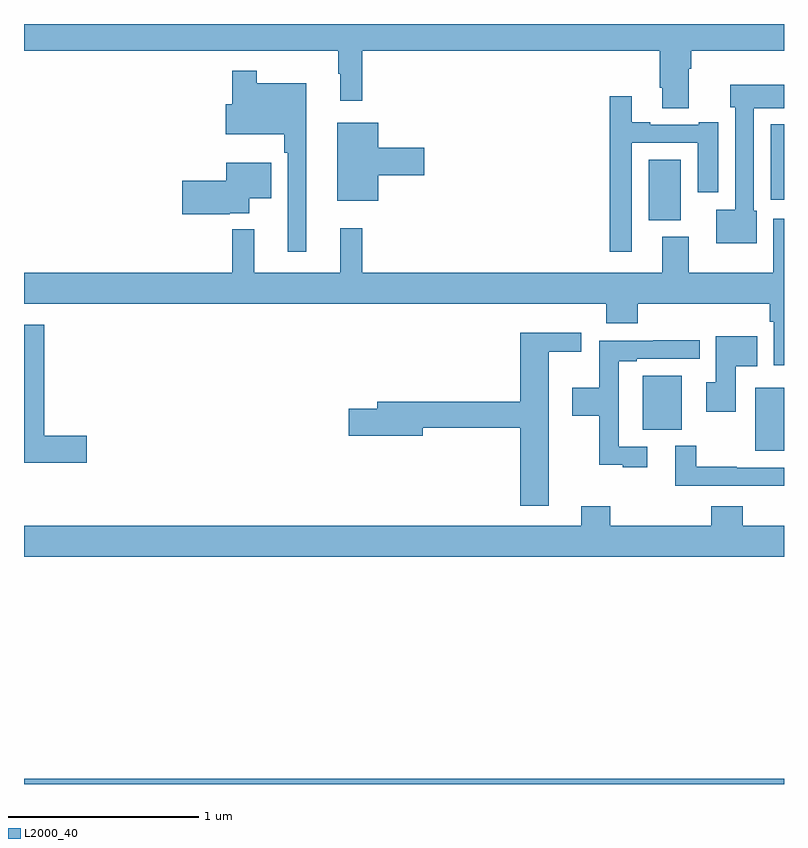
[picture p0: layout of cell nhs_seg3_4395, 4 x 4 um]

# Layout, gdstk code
import gdstk
lib = gdstk.Library(unit=1e-6, precision=1e-09)
def R(c, l, rs):  # rectangles x0, y0, x1, y1
    for r in rs: c.add(gdstk.rectangle(r[:2], r[2:], *l))
def P(c, l, *ps):  # polygons
    for p in ps: c.add(gdstk.Polygon(p, *l))
L2000_40 = (2000, 40)

nhs_seg3_4395 = lib.new_cell('nhs_seg3_4395')
R(nhs_seg3_4395, L2000_40, [(345,686.4,349,686.428), (348.848,688.154,349,688.486), (348.257,688.265,348.463,688.549), (348.287,689.366,348.457,689.686), (348.929,689.475,349,689.872)])
P(nhs_seg3_4395, L2000_40, [(348.499,690.164),(348.512,690.164),(348.512,690.26),(349,690.26),(349,690.4),(345,690.4),(345,690.26),(346.653,690.26),(346.653,690.137),(346.664,690.137),(346.664,689.997),(346.781,689.997),(346.781,690.26),(348.347,690.26),(348.347,690.064),(348.359,690.064),(348.359,689.956),(348.499,689.956)],
  [(346.486,690.088),(346.225,690.088),(346.225,690.154),(346.096,690.154),(346.096,689.977),(346.062,689.977),(346.062,689.819),(346.369,689.819),(346.369,689.723),(346.389,689.723),(346.389,689.202),(346.486,689.202)],
  [(348.856,689.418),(348.84,689.418),(348.84,689.957),(349,689.957),(349,690.079),(348.716,690.079),(348.716,689.961),(348.744,689.961),(348.744,689.422),(348.644,689.422),(348.644,689.246),(348.856,689.246)],
  [(348.198,689.775),(348.545,689.775),(348.545,689.514),(348.655,689.514),(348.655,689.884),(348.551,689.884),(348.551,689.871),(348.295,689.871),(348.295,689.884),(348.199,689.884),(348.199,690.019),(348.082,690.019),(348.082,689.202),(348.198,689.202)],
  [(346.864,689.603),(347.107,689.603),(347.107,689.75),(346.864,689.75),(346.864,689.881),(346.649,689.881),(346.649,689.471),(346.864,689.471)],
  [(346.082,689.405),(346.186,689.405),(346.186,689.483),(346.3,689.483),(346.3,689.671),(346.064,689.671),(346.064,689.576),(345.834,689.576),(345.834,689.4),(346.082,689.4)],
  [(349,689.374),(348.944,689.374),(348.944,689.092),(348.499,689.092),(348.499,689.281),(348.359,689.281),(348.359,689.092),(346.781,689.092),(346.781,689.326),(346.664,689.326),(346.664,689.092),(346.211,689.092),(346.211,689.32),(346.097,689.32),(346.097,689.092),(345,689.092),(345,688.928),(348.065,688.928),(348.065,688.826),(348.23,688.826),(348.23,688.928),(348.925,688.928),(348.925,688.832),(348.945,688.832),(348.945,688.605),(349,688.605)],
  [(345.331,688.232),(345.107,688.232),(345.107,688.818),(345,688.818),(345,688.09),(345.331,688.09)],
  [(347.761,688.676),(347.932,688.676),(347.932,688.774),(347.612,688.774),(347.612,688.412),(346.859,688.412),(346.859,688.376),(346.71,688.376),(346.71,688.234),(347.098,688.234),(347.098,688.276),(347.612,688.276),(347.612,687.864),(347.761,687.864)],
  [(348.745,688.598),(348.86,688.598),(348.86,688.756),(348.641,688.756),(348.641,688.515),(348.591,688.515),(348.591,688.359),(348.745,688.359)],
  [(348.28,688.176),(348.129,688.176),(348.129,688.626),(348.226,688.626),(348.226,688.638),(348.556,688.638),(348.556,688.736),(348.313,688.736),(348.313,688.734),(348.028,688.734),(348.028,688.486),(347.886,688.486),(347.886,688.339),(348.028,688.339),(348.028,688.079),(348.152,688.079),(348.152,688.068),(348.28,688.068)],
  [(349,688.065),(348.752,688.065),(348.752,688.07),(348.538,688.07),(348.538,688.18),(348.428,688.18),(348.428,687.969),(349,687.969)],
  [(349,687.76),(348.782,687.76),(348.782,687.862),(348.617,687.862),(348.617,687.76),(348.086,687.76),(348.086,687.862),(347.933,687.862),(347.933,687.76),(345,687.76),(345,687.596),(349,687.596)])

lib.write_gds('nhs_seg3_4395.gds')
